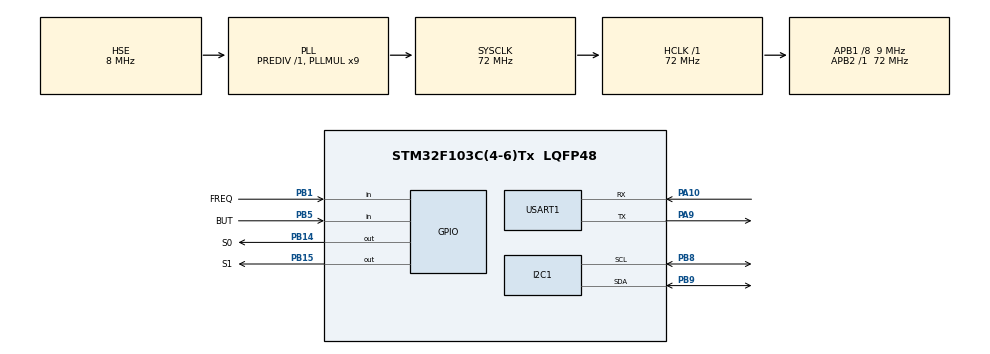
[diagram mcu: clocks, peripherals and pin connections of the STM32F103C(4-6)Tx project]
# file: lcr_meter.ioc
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Mcu.Family=STM32F1
Mcu.Name=STM32F103C(4-6)Tx
Mcu.Package=LQFP48
NVIC.PriorityGroup=NVIC_PRIORITYGROUP_4
PA10.Mode=Asynchronous
PA10.Signal=USART1_RX
PA9.Mode=Asynchronous
PA9.Signal=USART1_TX
PB1.GPIO_Label=FREQ
PB1.GPIO_PuPd=GPIO_PULLUP
PB1.Signal=GPIO_Input
PB14.GPIO_Label=S0
PB14.Signal=GPIO_Output
PB15.GPIO_Label=S1
PB15.Signal=GPIO_Output
PB5.GPIO_Label=BUT
PB5.Signal=GPIO_Input
PB8.Mode=I2C
PB8.Signal=I2C1_SCL
PB9.Mode=I2C
PB9.Signal=I2C1_SDA
PD0-OSC_IN.Mode=HSE-External-Oscillator
PD0-OSC_IN.Signal=RCC_OSC_IN
PD1-OSC_OUT.Mode=HSE-External-Oscillator
PD1-OSC_OUT.Signal=RCC_OSC_OUT
ProjectManager.HeapSize=0x200
ProjectManager.StackSize=0x400
ProjectManager.TargetToolchain=STM32CubeIDE
RCC.AHBFreq_Value=72000000
RCC.APB1CLKDivider=RCC_HCLK_DIV8
RCC.APB1Freq_Value=9000000
RCC.APB1TimFreq_Value=18000000
RCC.APB2Freq_Value=72000000
RCC.APB2TimFreq_Value=72000000
RCC.EnbaleCSS=true
RCC.HCLKFreq_Value=72000000
RCC.PLLMUL=RCC_PLL_MUL9
RCC.PLLSourceVirtual=RCC_PLLSOURCE_HSE
RCC.SYSCLKFreq_VALUE=72000000
RCC.SYSCLKSource=RCC_SYSCLKSOURCE_PLLCLK
RCC.USBFreq_Value=72000000
TIM2.Prescaler=100
USART1.VirtualMode=VM_ASYNC
VP_SYS_VS_ND.Mode=No_Debug
VP_TIM2_VS_ClockSourceINT.Mode=Internal
board=custom

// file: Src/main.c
/* USER CODE BEGIN Header */
/**
  ******************************************************************************
  * @file           : main.c
  * @brief          : Main program body
  ******************************************************************************
  * @attention
  *
  * Copyright (c) 2024 STMicroelectronics.
  * All rights reserved.
  *
  * This software is licensed under terms that can be found in the LICENSE file
  * in the root directory of this software component.
  * If no LICENSE file comes with this software, it is provided AS-IS.
  *
  ******************************************************************************
  */
/* USER CODE END Header */
#include "main.h"

/* USER CODE BEGIN Includes */
#include "ssd1306_oled.h"
#include "math.h"
#include <stdlib.h>
#include <string.h>
#include <stdio.h>

/* USER CODE END Includes */

/* USER CODE BEGIN PD */

#define FREQ_MULTI 84 //got from measuring inductance and getting it almost right
#define C_CALI_UP 3200
#define NO_MEAS 0
#define MEAS_CAP 1
#define MEAS_IND 2

/* USER CODE END PD */

I2C_HandleTypeDef hi2c1;

TIM_HandleTypeDef htim2;

UART_HandleTypeDef huart1;

/* USER CODE BEGIN PV */
const float henry_to_pico=(float)1000*(float)1000*(float)1000*(float)1000;
const float capac_mult=(float)1000*(float)1000*(float)1000*(float)1000;
int counter_on=0;
/* USER CODE END PV */

void SystemClock_Config(void);
static void MX_GPIO_Init(void);
static void MX_I2C1_Init(void);
static void MX_USART1_UART_Init(void);
static void MX_TIM2_Init(void);
/* USER CODE BEGIN PFP */
unsigned int measure_freq();
void calc(unsigned int freq_det,unsigned int freq_calib,unsigned int freq_norm,unsigned int m);

/* USER CODE END PFP */

int main(void)
{

  /* MCU Configuration--------------------------------------------------------*/

  /* Reset of all peripherals, Initializes the Flash interface and the Systick. */
  HAL_Init();

  /* Configure the system clock */
  SystemClock_Config();

  /* Initialize all configured peripherals */
  MX_GPIO_Init();
  MX_I2C1_Init();
  MX_USART1_UART_Init();
  MX_TIM2_Init();

  /* Infinite loop */
  /* USER CODE BEGIN WHILE */

  HAL_TIM_Base_Start(&htim2);

  OLED_init(&hi2c1);
  OLED_reset_RAM(&hi2c1);
  unsigned int col=0;

  while (1)
  {

	  unsigned int freq_capac=0;
	  unsigned int freq_calib=0;
	  unsigned int freq_normal=0;
	  unsigned int freq_ind=0;

	  char MSG[100]={0};
	  //OLED_printch(16,&col,0);
	  //if(HAL_GPIO_ReadPin(GPIOB,BUT_Pin)==1){

		//normal freq B3
		HAL_GPIO_WritePin(GPIOB, S0_Pin, GPIO_PIN_RESET);
		HAL_GPIO_WritePin(GPIOB,S1_Pin,GPIO_PIN_SET);
		OLED_reset_RAM(&hi2c1);
		OLED_printch(16,&col,0);

		freq_normal=measure_freq();
//		sprintf(MSG, "freq normal = %d,freq calib = %d,freq det = %d\r\n", freq_normal,freq_calib,freq_capac);
//		HAL_UART_Transmit(&huart1, MSG, sizeof(MSG), 100);

		//calib B2
		//connect calib capac
		HAL_GPIO_WritePin(GPIOB,S0_Pin,GPIO_PIN_SET);
		HAL_GPIO_WritePin(GPIOB, S1_Pin, GPIO_PIN_RESET);

		freq_calib=measure_freq();

		//measure capac B1
		//connect measured capac
		HAL_GPIO_WritePin(GPIOB, S0_Pin, GPIO_PIN_RESET);
		HAL_GPIO_WritePin(GPIOB,S1_Pin,GPIO_PIN_RESET);

		freq_capac=measure_freq();

		calc(freq_capac,freq_calib,freq_normal,MEAS_CAP);

		//measure ind B4
		//disconnect ind form ground

		HAL_GPIO_WritePin(GPIOB,S0_Pin,GPIO_PIN_SET);
		HAL_GPIO_WritePin(GPIOB,S1_Pin,GPIO_PIN_SET);

		OLED_reset_RAM(&hi2c1);
		freq_ind=measure_freq();
		sprintf(MSG, "freq normal = %d,freq calib = %d,freq capac = %d, freq_ind=%d\r\n", freq_normal,freq_calib,freq_capac,freq_ind);
		HAL_UART_Transmit(&huart1, MSG, sizeof(MSG), 100);

		calc(freq_ind,freq_calib,freq_normal,MEAS_IND);

	 //}

    /* USER CODE END WHILE */

  }
}

void SystemClock_Config(void)
{
  RCC_OscInitTypeDef RCC_OscInitStruct = {0};
  RCC_ClkInitTypeDef RCC_ClkInitStruct = {0};

  /** Initializes the RCC Oscillators according to the specified parameters
  * in the RCC_OscInitTypeDef structure.
  */
  RCC_OscInitStruct.OscillatorType = RCC_OSCILLATORTYPE_HSE;
  RCC_OscInitStruct.HSEState = RCC_HSE_ON;
  RCC_OscInitStruct.HSEPredivValue = RCC_HSE_PREDIV_DIV1;
  RCC_OscInitStruct.HSIState = RCC_HSI_ON;
  RCC_OscInitStruct.PLL.PLLState = RCC_PLL_ON;
  RCC_OscInitStruct.PLL.PLLSource = RCC_PLLSOURCE_HSE;
  RCC_OscInitStruct.PLL.PLLMUL = RCC_PLL_MUL9;
  if (HAL_RCC_OscConfig(&RCC_OscInitStruct) != HAL_OK)
  {
    Error_Handler();
  }

  /** Initializes the CPU, AHB and APB buses clocks
  */
  RCC_ClkInitStruct.ClockType = RCC_CLOCKTYPE_HCLK|RCC_CLOCKTYPE_SYSCLK
                              |RCC_CLOCKTYPE_PCLK1|RCC_CLOCKTYPE_PCLK2;
  RCC_ClkInitStruct.SYSCLKSource = RCC_SYSCLKSOURCE_PLLCLK;
  RCC_ClkInitStruct.AHBCLKDivider = RCC_SYSCLK_DIV1;
  RCC_ClkInitStruct.APB1CLKDivider = RCC_HCLK_DIV8;
  RCC_ClkInitStruct.APB2CLKDivider = RCC_HCLK_DIV1;

  if (HAL_RCC_ClockConfig(&RCC_ClkInitStruct, FLASH_LATENCY_2) != HAL_OK)
  {
    Error_Handler();
  }

  /** Enables the Clock Security System
  */
  HAL_RCC_EnableCSS();
}

static void MX_I2C1_Init(void)
{

  hi2c1.Instance = I2C1;
  hi2c1.Init.ClockSpeed = 100000;
  hi2c1.Init.DutyCycle = I2C_DUTYCYCLE_2;
  hi2c1.Init.OwnAddress1 = 0;
  hi2c1.Init.AddressingMode = I2C_ADDRESSINGMODE_7BIT;
  hi2c1.Init.DualAddressMode = I2C_DUALADDRESS_DISABLE;
  hi2c1.Init.OwnAddress2 = 0;
  hi2c1.Init.GeneralCallMode = I2C_GENERALCALL_DISABLE;
  hi2c1.Init.NoStretchMode = I2C_NOSTRETCH_DISABLE;
  if (HAL_I2C_Init(&hi2c1) != HAL_OK)
  {
    Error_Handler();
  }

}

static void MX_TIM2_Init(void)
{

  TIM_ClockConfigTypeDef sClockSourceConfig = {0};
  TIM_MasterConfigTypeDef sMasterConfig = {0};

  htim2.Instance = TIM2;
  htim2.Init.Prescaler = 100;
  htim2.Init.CounterMode = TIM_COUNTERMODE_UP;
  htim2.Init.Period = 65535;
  htim2.Init.ClockDivision = TIM_CLOCKDIVISION_DIV1;
  htim2.Init.AutoReloadPreload = TIM_AUTORELOAD_PRELOAD_DISABLE;
  if (HAL_TIM_Base_Init(&htim2) != HAL_OK)
  {
    Error_Handler();
  }
  sClockSourceConfig.ClockSource = TIM_CLOCKSOURCE_INTERNAL;
  if (HAL_TIM_ConfigClockSource(&htim2, &sClockSourceConfig) != HAL_OK)
  {
    Error_Handler();
  }
  sMasterConfig.MasterOutputTrigger = TIM_TRGO_RESET;
  sMasterConfig.MasterSlaveMode = TIM_MASTERSLAVEMODE_DISABLE;
  if (HAL_TIMEx_MasterConfigSynchronization(&htim2, &sMasterConfig) != HAL_OK)
  {
    Error_Handler();
  }

}

static void MX_USART1_UART_Init(void)
{

  huart1.Instance = USART1;
  huart1.Init.BaudRate = 115200;
  huart1.Init.WordLength = UART_WORDLENGTH_8B;
  huart1.Init.StopBits = UART_STOPBITS_1;
  huart1.Init.Parity = UART_PARITY_NONE;
  huart1.Init.Mode = UART_MODE_TX_RX;
  huart1.Init.HwFlowCtl = UART_HWCONTROL_NONE;
  huart1.Init.OverSampling = UART_OVERSAMPLING_16;
  if (HAL_UART_Init(&huart1) != HAL_OK)
  {
    Error_Handler();
  }

}

static void MX_GPIO_Init(void)
{
  GPIO_InitTypeDef GPIO_InitStruct = {0};

  /* GPIO Ports Clock Enable */
  __HAL_RCC_GPIOD_CLK_ENABLE();
  __HAL_RCC_GPIOB_CLK_ENABLE();
  __HAL_RCC_GPIOA_CLK_ENABLE();

  /*Configure GPIO pin Output Level */
  HAL_GPIO_WritePin(GPIOB, S0_Pin|S1_Pin, GPIO_PIN_RESET);

  /*Configure GPIO pin : FREQ_Pin */
  GPIO_InitStruct.Pin = FREQ_Pin;
  GPIO_InitStruct.Mode = GPIO_MODE_INPUT;
  GPIO_InitStruct.Pull = GPIO_PULLUP;
  HAL_GPIO_Init(FREQ_GPIO_Port, &GPIO_InitStruct);

  /*Configure GPIO pins : S0_Pin S1_Pin */
  GPIO_InitStruct.Pin = S0_Pin|S1_Pin;
  GPIO_InitStruct.Mode = GPIO_MODE_OUTPUT_PP;
  GPIO_InitStruct.Pull = GPIO_NOPULL;
  GPIO_InitStruct.Speed = GPIO_SPEED_FREQ_LOW;
  HAL_GPIO_Init(GPIOB, &GPIO_InitStruct);

  /*Configure GPIO pin : BUT_Pin */
  GPIO_InitStruct.Pin = BUT_Pin;
  GPIO_InitStruct.Mode = GPIO_MODE_INPUT;
  GPIO_InitStruct.Pull = GPIO_NOPULL;
  HAL_GPIO_Init(BUT_GPIO_Port, &GPIO_InitStruct);

}

/* USER CODE BEGIN 4 */
//void HAL_Tim_PeriodElapsedCallback(TIM_HandleTypeDef *htim){
//
//	HAL_GPIO_TogglePin(GPIOC,LED_Pin);
//
//}

unsigned int measure_freq(){

		unsigned int freq_count=0;
		unsigned int freq_state=0;
		unsigned long timer_val=0;
		HAL_Delay(500);
		(&htim2)->Instance->CNT=0;
		timer_val=__HAL_TIM_GetCounter(&htim2);

//		//meas time of 100 freq counts
//		while(freq_count<100){
//			if(HAL_GPIO_ReadPin(GPIOB,FREQ_Pin)==1 && freq_state==0){
//				freq_state=1;
//			}
//			if(HAL_GPIO_ReadPin(GPIOB,FREQ_Pin)==0 && freq_state==1){
//				freq_state=0;
//				freq_count++;
//			}
//		}
//		timer_val=__HAL_TIM_GetCounter(&htim2)-timer_val;
//			return timer_val;
		//meas freq count between 100ms of time
		while(__HAL_TIM_GetCounter(&htim2)-timer_val<1000){
			if(HAL_GPIO_ReadPin(GPIOB,FREQ_Pin)==freq_state){
				freq_state=freq_state^0x01;
				freq_count++;
			}
		}
		//HAL_TIM_Base_Stop(&htim2);
		return freq_count;
}

void calc(unsigned int freq_det,unsigned int freq_calib,unsigned int freq_norm,unsigned int mode){
	float buf_A=0,buf_B=0,square=0;
	unsigned int bot_digits=0,top_digits=0;
	unsigned int prefix=0,unit=0,col=0;
	char MSG[100]={0};

	buf_A=(float)freq_norm/(float)freq_det;
	buf_A=buf_A*buf_A-1;
	sprintf(MSG, "buf_A = %f \r\n", buf_A);
	HAL_UART_Transmit(&huart1, MSG, sizeof(MSG), 100);

	buf_B=(float)freq_norm/(float)freq_calib;
	buf_B=buf_B*buf_B-1;
	sprintf(MSG, "buf_B = %f \r\n", buf_B);
	HAL_UART_Transmit(&huart1, MSG, sizeof(MSG), 100);

	if(mode==MEAS_CAP){
		buf_A=buf_A/buf_B*(float)C_CALI_UP;
		sprintf(MSG, "buf_C = %f \r\n", buf_A);
		HAL_UART_Transmit(&huart1, MSG, sizeof(MSG), 100);

		unit=14;
	}

	else if(mode==MEAS_IND){

		square=2*M_PI*(float)freq_norm*(float)FREQ_MULTI;
		square=square*square;
		//going from henry to pico henry and multiplying by capac mult
		buf_A=buf_A*buf_B*capac_mult*henry_to_pico/square/(float)C_CALI_UP;
		unit=15;
	}

	prefix=10;

	if(buf_A>1000){
		buf_A=buf_A/(float)1000;
		prefix=11;
	}
	if(buf_A>1000){
		buf_A=buf_A/(float)1000;
		prefix=12;
	}
	if(buf_A>1000){
		buf_A=buf_A/(float)1000;
		prefix=13;
	}

	top_digits=(unsigned int)buf_A;
	bot_digits=(unsigned int)( (buf_A-(float)top_digits)*1000 );
	print_calc(top_digits,&col,0);
	OLED_printch(16,&col,0);
	print_calc(bot_digits,&col,0);
	OLED_printch(prefix,&col,0);
	OLED_printch(unit,&col,0);
	HAL_Delay(2000);
}
/* USER CODE END 4 */

void Error_Handler(void)
{
  __disable_irq();
  while (1)
  {
  }
}
